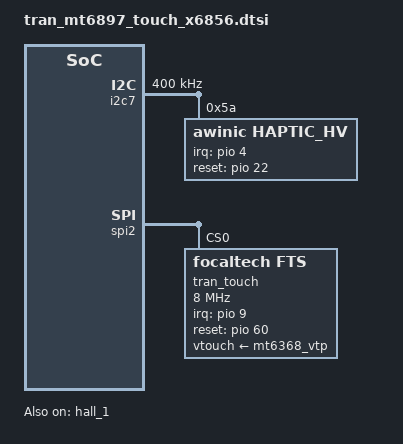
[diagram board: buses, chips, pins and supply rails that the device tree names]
// SPDX-License-Identifier: GPL-2.0
/*
 * Copyright (c) 2022 MediaTek Inc.
 */
/********************************************
 * MT6897 TOUCH/VIBR/KEY DTSI File
 ********************************************/
/* lk haptic start */
&chosen {
lra,info = <1 7 22>;//type:(1:X-lra 2:Z-lra)  bus_num:i2c7  reset_gpio:gpio22
};
/* lk haptic end */

/* key start */
&mt6363keys {
	home {
		linux,keycodes = <114>;
	};
};
/* key start */

/* AWINIC Haptic start */
&i2c7 {
	clock-frequency = <400000>;
	haptic_hv@5A {
		compatible = "awinic,haptic_hv";
		reg = <0x5A>;
		irq-gpio = <&pio 4 0>;
		reset-gpio = <&pio 22 0>;
		f0_pre = < 1700 >;
		mode = /bits/ 8 < 5 >;
		aw8692x_f0_cali_percent = /bits/ 8 < 7 >;
		aw8692x_gain_bypass = /bits/ 8 < 1 >;
		aw8692x_cont_drv1_lvl = /bits/ 8 < 0x7F >;
		aw8692x_cont_lra_vrms = < 1000 >; /* Motor rated voltage, mV. If use 0812, 0512, 0412 or 0825, please select ram get f0 */
		aw8692x_cont_drv1_time = /bits/ 8 < 0x04 >;
		aw8692x_cont_drv2_time = /bits/ 8 < 0x14 >;
		aw8692x_cont_track_margin = /bits/ 8 < 0x0F >;
		aw8692x_cont_brk_gain = /bits/ 8 < 0x08 >;
		aw8692x_cont_brk_time = /bits/ 8 < 0x08 >;
		//aw8692x_duration_time = /bits/ 8 < 20 30 60 >;
		aw8692x_duration_time = /bits/ 8 < 30 60 90 >;
		aw8692x_d2s_gain = /bits/ 8 < 0x04 >;
		aw8692x_trig_config = /bits/ 8 < 0 0 0 1 0 2 0 0
						 0 0 0 1 0 2 0 0
						 0 0 0 1 0 2 0 0 >;
		aw8692x_bst_vol_default = < 8500 >;
		aw8692x_is_enabled_track_en;
		aw8692x_is_enabled_auto_bst;
		/* aw8692x_is_enabled_one_wire; */
		status = "okay";
	};
};
/* AWINIC Haptic end */

/* hall start */
&hall_1 {
		hall_rlk,irq-gpio = <&pio 39 0x0>;
		interrupt-parent = <&pio>;
		interrupts = <5 IRQ_TYPE_LEVEL_LOW 39 0>;
		pinctrl-names = "default";
		pinctrl-0 = <&hall_intpin_default>;
		status = "okay";
};
&pio {
	hall_intpin_default: halldefaultcfg {
		pins_cmd_dat {
			pinmux = <PINMUX_GPIO39__FUNC_GPIO39>;
			slew-rate = <0>;
			bias-pull-up = <00>;
			status = "okay";
		};
	};
};
/* hall end */

/* TP start */
&odm {
	touch: touch {
		compatible = "mediatek,touch";
	};
};
&touch {
	supplier-num = <1>;
	supplier-vendor-0 = "TM";
	supplier-0 = "any, focaltech, ft3683g";
	supplier-resolution-0 = <16>;
};

&spi2 {
	tran_touch:touch@0 {
		 compatible = "focaltech,fts";
		 reg = <0>;
		 status = "ok";
		 spi-max-frequency = <8000000>;
		 interrupt-parent = <&pio>;
		 vtouch-supply = <&mt6368_vtp>;
		 //For ft3683g  driver config
		// focaltech,iovdd-gpio = <&pio 167 0x0>;
		 focaltech,irq-gpio = <&pio 9 0x0>;
		 focaltech,reset-gpio = <&pio 60 0x0>;
		 focaltech,max-touch-number = <10>;
		 focaltech,display-coords =  <0 0 17279 38975>;
		 focaltech,fod-function-support;
		 focaltech,custom-mistouch-support;
		 focaltech,pocket-function-support;
		 focaltech,switch-report-support;
		 pinctrl-names = "default","state_spi_mode";
		 pinctrl-0 = <&ctp_pins_default>;
		 pinctrl-1 = <&ctp_pins_spi_mode>;
	};
};
&pio {
	ctp_pins_default: ctp_default {
	};
	ctp_pins_spi_mode: ctp_spimode_default {
		pins_cmd_dat {
			pinmux = <PINMUX_GPIO13__FUNC_SPI2_MI>,
					 <PINMUX_GPIO12__FUNC_SPI2_CSB>,
					 <PINMUX_GPIO14__FUNC_SPI2_MO>,
					 <PINMUX_GPIO11__FUNC_SPI2_CLK>;
			drive-strength = <2>;
		};
	};
};
/* tp end */
